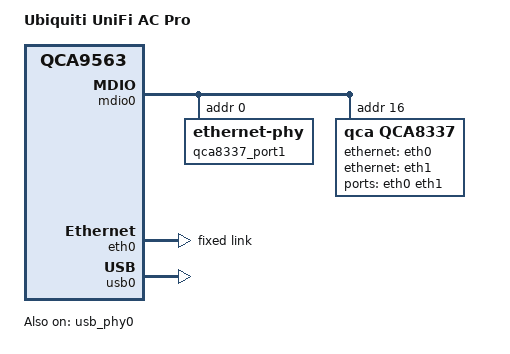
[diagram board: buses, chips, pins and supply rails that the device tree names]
// SPDX-License-Identifier: GPL-2.0-or-later OR MIT

#include "qca9563_ubnt_unifiac-pro.dtsi"

/ {
	compatible = "ubnt,unifiac-pro", "qca,qca9563";
	model = "Ubiquiti UniFi AC Pro";
};

&mdio0 {
	status = "okay";

	#address-cells = <1>;
	#size-cells = <0>;

	qca8337_port1: ethernet-phy@0 {
		reg = <0x0>;
	};

	qca8337: switch@10 {
		compatible = "qca,qca8337";
		#address-cells = <1>;
		#size-cells = <0>;
		reg = <0x10>;

		ports {
			#address-cells = <1>;
			#size-cells = <0>;

			port@0 {
				reg = <0>;
				ethernet = <&eth0>;
				phy-mode = "gmii";

				fixed-link {
					speed = <1000>;
					full-duplex;
				};
			};

			port@1 {
				reg = <1>;
				label = "eth0";
				phy-mode = "internal";
				phy-handle = <&qca8337_port1>;
			};

			port@2 {
				reg = <2>;
				label = "eth1";
				ethernet = <&eth1>;
				phy-mode = "gmii";

				fixed-link {
					speed = <1000>;
					full-duplex;
				};
			};
		};
	};
};

&eth0 {
	status = "okay";

	pll-data = <0x03000101 0x00000101 0x00001919>;

	nvmem-cells = <&macaddr_art_0>;
	nvmem-cell-names = "mac-address";

	fixed-link {
		speed = <1000>;
		full-duplex;
	};
};

&usb_phy0 {
	status = "okay";
};

&usb0 {
	status = "okay";
};
